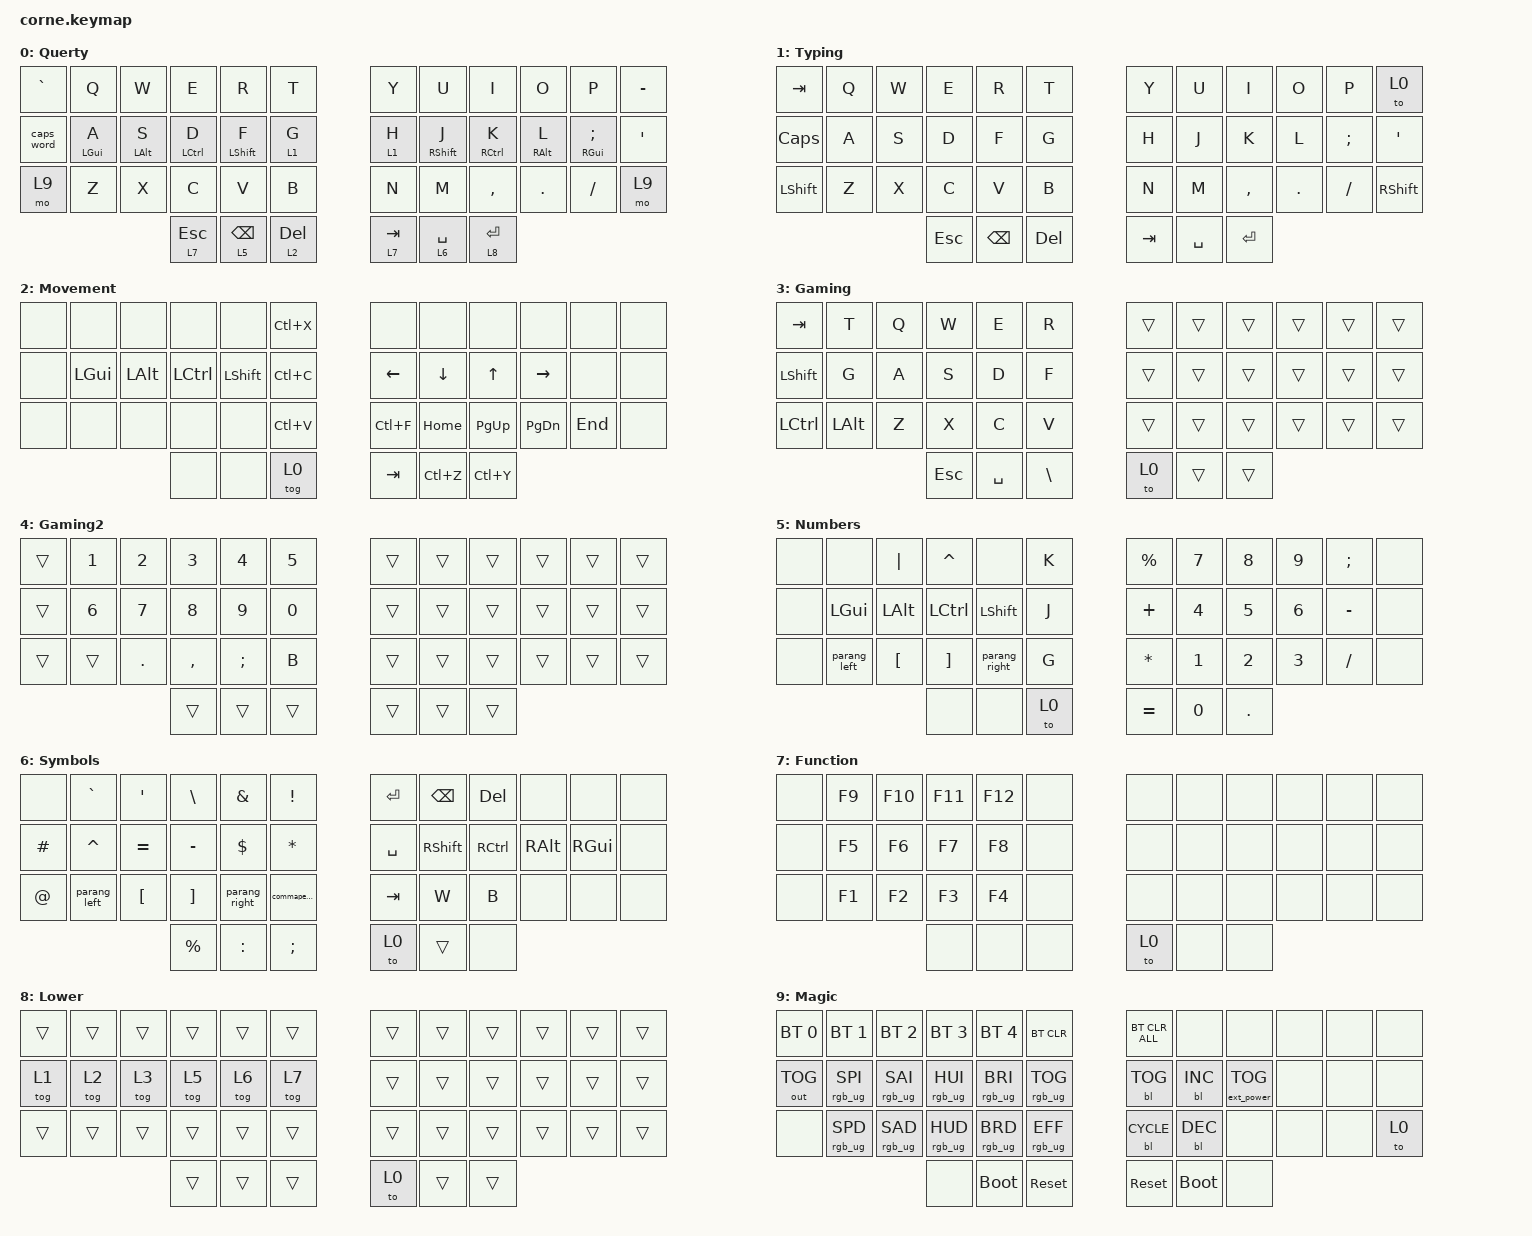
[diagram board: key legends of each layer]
/*
 * Copyright (c) 2020 The ZMK Contributors
 *
 * SPDX-License-Identifier: MIT
 */

#include <behaviors.dtsi>
#include <dt-bindings/zmk/backlight.h>
#include <dt-bindings/zmk/bt.h>
#include <dt-bindings/zmk/ext_power.h>
#include <dt-bindings/zmk/keys.h>
#include <dt-bindings/zmk/outputs.h>
#include <dt-bindings/zmk/rgb.h>

&led_strip { chain-length = <27>; };

&caps_word { continue-list = <UNDERSCORE BACKSPACE DELETE MINUS N1 N2 N3 N4 N5 N6 N7 N8 N9 N0>; };

/ {
    behaviors {
        homeRowModRight: homeRowModRight {
            compatible = "zmk,behavior-hold-tap";
            bindings = <&kp>, <&kp>;

            #binding-cells = <2>;
            tapping-term-ms = <200>;
            flavor = "tap-preferred";
            hold-trigger-key-positions = <13 14 15 16 38 39 41 40 37 36 29 27 28 26 25 24 12 0 1 2 3 5 4 17>;
            require-prior-idle-ms = <200>;
            quick-tap-ms = <300>;
            hold-trigger-on-release;
        };

        layerchangehold: layerchangehold {
            compatible = "zmk,behavior-hold-tap";
            bindings = <&mo>, <&kp>;

            #binding-cells = <2>;
            tapping-term-ms = <100>;
            flavor = "tap-preferred";
            hold-trigger-key-positions = <17 18 36 37 38 39 40 41 24 35>;
            require-prior-idle-ms = <150>;
            quick-tap-ms = <300>;
        };

        parang_right: parang_right {
            compatible = "zmk,behavior-mod-morph";
            bindings = <&kp RIGHT_PARENTHESIS>, <&kp GREATER_THAN>;

            #binding-cells = <0>;
            mods = <(MOD_LSFT|MOD_RSFT)>;
        };

        parang_left: parang_left {
            compatible = "zmk,behavior-mod-morph";
            bindings = <&kp LEFT_PARENTHESIS>, <&kp LESS_THAN>;

            #binding-cells = <0>;
            mods = <(MOD_LSFT|MOD_RSFT)>;
        };

        plane: plane {
            compatible = "zmk,behavior-hold-tap";
            bindings = <&mo>, <&kp>;

            #binding-cells = <2>;
            retro-tap;
            flavor = "tap-preferred";
            tapping-term-ms = <100>;
            quick-tap-ms = <300>;
            require-prior-idle-ms = <150>;
        };

        thumb: thumb {
            compatible = "zmk,behavior-hold-tap";
            bindings = <&mo>, <&kp>;

            #binding-cells = <2>;
            flavor = "balanced";
            tapping-term-ms = <160>;
            quick-tap-ms = <300>;
        };

        HomeRowModLeft: HomeRowModLeft {
            compatible = "zmk,behavior-hold-tap";
            bindings = <&kp>, <&kp>;

            #binding-cells = <2>;
            tapping-term-ms = <199>;
            flavor = "tap-preferred";
            require-prior-idle-ms = <200>;
            quick-tap-ms = <300>;
            hold-trigger-on-release;
            hold-trigger-key-positions = <33 6 10 11 18 19 20 21 22 23 30 31 32 33 34 35 39 40 41 6 7 8 9 18 19 20 21 36 37 38>;
        };

        commaperiod: commaperiod {
            compatible = "zmk,behavior-mod-morph";
            bindings = <&kp COMMA>, <&kp PERIOD>;

            #binding-cells = <0>;
            mods = <(MOD_LSFT|MOD_RSFT)>;
        };

        space_hold: space_hold {
            compatible = "zmk,behavior-hold-tap";
            bindings = <&mo>, <&kp>;

            #binding-cells = <2>;
            flavor = "balanced";
            tapping-term-ms = <150>;
            quick-tap-ms = <150>;
        };

        home_row_mod_right_shift: home_row_mod_right_shift {
            compatible = "zmk,behavior-hold-tap";
            bindings = <&kp>, <&kp>;

            #binding-cells = <2>;
            tapping-term-ms = <180>;
            flavor = "tap-preferred";
            hold-trigger-key-positions = <13 14 15 16 38 39 41 40 37 36 29 27 28 26 25 24 12 0 1 2 3 5 4 17>;
            require-prior-idle-ms = <200>;
            quick-tap-ms = <300>;
            hold-trigger-on-release;
        };

        home_row_mod_left_shift: home_row_mod_left_shift {
            compatible = "zmk,behavior-hold-tap";
            bindings = <&kp>, <&kp>;

            #binding-cells = <2>;
            tapping-term-ms = <180>;
            flavor = "tap-preferred";
            require-prior-idle-ms = <200>;
            quick-tap-ms = <300>;
            hold-trigger-on-release;
            hold-trigger-key-positions = <33 6 10 11 18 19 20 21 22 23 30 31 32 33 34 35 39 40 41 6 7 8 9 18 19 20 21 36 37 38>;
        };
    };

    combos {
        compatible = "zmk,combos";

        leaveTyping {
            bindings = <&to 0>;
            key-positions = <37 38>;
            layers = <1>;
        };
    };

    keymap {
        compatible = "zmk,keymap";

        Querty {
            // -----------------------------------------------------------------------------------------
            // |  TAB |  Q  |  W  |  E  |  R  |  T  |   |  Y  |  U   |  I  |  O  |  P  | BKSP |
            // | CTRL |  A  |  S  |  D  |  F  |  G  |   |  H  |  J   |  K  |  L  |  ;  |  '   |
            // | SHFT |  Z  |  X  |  C  |  V  |  B  |   |  N  |  M   |  ,  |  .  |  /  | ESC  |
            //                    | GUI | LWR | SPC |   | ENT | RSE  | ALT |

            bindings = <
&kp GRAVE   &kp Q                       &kp W                       &kp E                           &kp R                              &kp T              &kp Y         &kp U                                    &kp I                     &kp O                         &kp P                                 &kp MINUS
&caps_word  &HomeRowModLeft LEFT_GUI A  &HomeRowModLeft LEFT_ALT S  &HomeRowModLeft LEFT_CONTROL D  &home_row_mod_left_shift LSHIFT F  &plane 1 G         &plane 1 H    &home_row_mod_right_shift RIGHT_SHIFT J  &homeRowModRight RCTRL K  &homeRowModRight RIGHT_ALT L  &homeRowModRight RIGHT_GUI SEMICOLON  &kp SQT
&mo 9       &kp Z                       &kp X                       &kp C                           &kp V                              &kp B              &kp N         &kp M                                    &kp COMMA                 &kp DOT                       &kp FSLH                              &mo 9
                                                                    &thumb 7 ESC                    &thumb 5 BACKSPACE                 &thumb 2 DELETE    &thumb 7 TAB  &thumb 6 SPACE                           &thumb 8 ENTER
            >;
        };

        Typing {
            bindings = <
&kp TAB    &kp Q  &kp W  &kp E       &kp R          &kp T      &kp Y    &kp U      &kp I      &kp O    &kp P     &to 0
&kp CAPS   &kp A  &kp S  &kp D       &kp F          &kp G      &kp H    &kp J      &kp K      &kp L    &kp SEMI  &kp APOS
&kp LSHFT  &kp Z  &kp X  &kp C       &kp V          &kp B      &kp N    &kp M      &kp COMMA  &kp DOT  &kp FSLH  &kp RSHFT
                         &kp ESCAPE  &kp BACKSPACE  &kp DEL    &kp TAB  &kp SPACE  &kp RET
            >;
        };

        Movement {
            bindings = <
&none  &none     &none     &none      &none      &kp LC(X)    &none      &none           &none         &none      &none    &none
&none  &kp LGUI  &kp LALT  &kp LCTRL  &kp LSHFT  &kp LC(C)    &kp LEFT   &kp DOWN_ARROW  &kp UP_ARROW  &kp RIGHT  &none    &none
&none  &none     &none     &none      &none      &kp LC(V)    &kp LC(F)  &kp HOME        &kp PG_UP     &kp PG_DN  &kp END  &none
                           &none      &none      &tog 0       &kp TAB    &kp LC(Z)       &kp LC(Y)
            >;
        };

        Gaming {
            bindings = <
&kp TAB    &kp T         &kp Q  &kp W    &kp E      &kp R       &trans  &trans  &trans  &trans  &trans  &trans
&kp LSHFT  &kp G         &kp A  &kp S    &kp D      &kp F       &trans  &trans  &trans  &trans  &trans  &trans
&kp LCTRL  &kp LEFT_ALT  &kp Z  &kp X    &kp C      &kp V       &trans  &trans  &trans  &trans  &trans  &trans
                                &kp ESC  &kp SPACE  &kp BSLH    &to 0   &trans  &trans
            >;
        };

        Gaming2 {
            bindings = <
&trans  &kp NUMBER_1  &kp NUMBER_2  &kp NUMBER_3  &kp NUMBER_4   &kp NUMBER_5    &trans  &trans  &trans  &trans  &trans  &trans
&trans  &kp NUMBER_6  &kp N7        &kp N8        &kp N9         &kp N0          &trans  &trans  &trans  &trans  &trans  &trans
&trans  &trans        &kp PERIOD    &kp COMMA     &kp SEMICOLON  &kp B           &trans  &trans  &trans  &trans  &trans  &trans
                                    &trans        &trans         &trans          &trans  &trans  &trans
            >;
        };

        Numbers {
            bindings = <
&none  &none         &kp PIPE          &kp CARET          &none          &kp K    &kp PERCENT  &kp N7        &kp N8      &kp N9  &kp SEMI   &none
&none  &kp LGUI      &kp LALT          &kp LCTRL          &kp LSHFT      &kp J    &kp PLUS     &kp N4        &kp N5      &kp N6  &kp MINUS  &none
&none  &parang_left  &kp LEFT_BRACKET  &kp RIGHT_BRACKET  &parang_right  &kp G    &kp STAR     &kp N1        &kp N2      &kp N3  &kp FSLH   &none
                                       &none              &none          &to 0    &kp EQUAL    &kp NUMBER_0  &kp PERIOD
            >;
        };

        Symbols {
            bindings = <
&none        &kp GRAVE     &kp SQT    &kp BSLH     &kp AMPERSAND  &kp EXCLAMATION    &kp RET    &kp BSPC   &kp DEL    &none     &none     &none
&kp POUND    &kp CARET     &kp EQUAL  &kp MINUS    &kp DOLLAR     &kp ASTERISK       &kp SPACE  &kp RSHFT  &kp RCTRL  &kp RALT  &kp RGUI  &none
&kp AT_SIGN  &parang_left  &kp LBKT   &kp RBKT     &parang_right  &commaperiod       &kp TAB    &kp W      &kp B      &none     &none     &none
                                      &kp PERCENT  &kp COLON      &kp SEMI           &to 0      &trans     &none
            >;
        };

        Function {
            bindings = <
&none  &kp F9  &kp F10  &kp F11  &kp F12  &none    &none  &none  &none  &none  &none  &none
&none  &kp F5  &kp F6   &kp F7   &kp F8   &none    &none  &none  &none  &none  &none  &none
&none  &kp F1  &kp F2   &kp F3   &kp F4   &none    &none  &none  &none  &none  &none  &none
                        &none    &none    &none    &to 0  &none  &none
            >;
        };

        Lower {
            bindings = <
&trans  &trans  &trans  &trans  &trans  &trans    &trans  &trans  &trans  &trans  &trans  &trans
&tog 1  &tog 2  &tog 3  &tog 5  &tog 6  &tog 7    &trans  &trans  &trans  &trans  &trans  &trans
&trans  &trans  &trans  &trans  &trans  &trans    &trans  &trans  &trans  &trans  &trans  &trans
                        &trans  &trans  &trans    &to 0   &trans  &trans
            >;
        };

        Magic {
            bindings = <
&bt BT_SEL 0  &bt BT_SEL 1     &bt BT_SEL 2     &bt BT_SEL 3     &bt BT_SEL 4     &bt BT_CLR         &bt BT_CLR_ALL  &none        &none              &none  &none  &none
&out OUT_TOG  &rgb_ug RGB_SPI  &rgb_ug RGB_SAI  &rgb_ug RGB_HUI  &rgb_ug RGB_BRI  &rgb_ug RGB_TOG    &bl BL_TOG      &bl BL_INC   &ext_power EP_TOG  &none  &none  &none
&none         &rgb_ug RGB_SPD  &rgb_ug RGB_SAD  &rgb_ug RGB_HUD  &rgb_ug RGB_BRD  &rgb_ug RGB_EFF    &bl BL_CYCLE    &bl BL_DEC   &none              &none  &none  &to 0
                                                &none            &bootloader      &sys_reset         &sys_reset      &bootloader  &none
            >;
        };
    };
};
